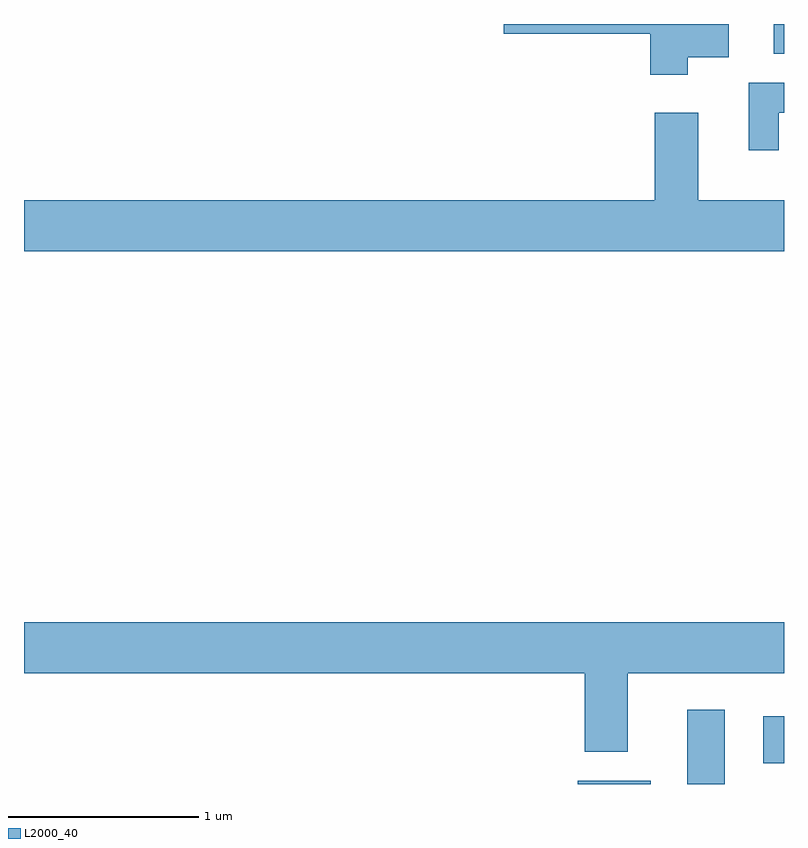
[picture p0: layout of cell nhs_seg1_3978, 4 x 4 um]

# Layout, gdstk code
import gdstk
lib = gdstk.Library(unit=1e-6, precision=1e-09)
def R(c, l, rs):  # rectangles x0, y0, x1, y1
    for r in rs: c.add(gdstk.rectangle(r[:2], r[2:], *l))
def P(c, l, *ps):  # polygons
    for p in ps: c.add(gdstk.Polygon(p, *l))
L2000_40 = (2000, 40)

nhs_seg1_3978 = lib.new_cell('nhs_seg1_3978')
R(nhs_seg1_3978, L2000_40, [(308.526,845.712,308.909,845.729), (309.101,845.712,309.299,846.104), (309.501,845.821,309.611,846.069), (309.556,849.556,309.611,849.712)])
P(nhs_seg1_3978, L2000_40, [(309.104,849.536),(309.319,849.536),(309.319,849.712),(308.136,849.712),(308.136,849.661),(308.906,849.661),(308.906,849.446),(309.104,849.446)],
  [(309.584,849.246),(309.611,849.246),(309.611,849.404),(309.426,849.404),(309.426,849.048),(309.584,849.048)],
  [(309.611,848.784),(309.159,848.784),(309.159,849.244),(308.931,849.244),(308.931,848.784),(305.611,848.784),(305.611,848.516),(309.611,848.516)],
  [(308.789,846.296),(309.611,846.296),(309.611,846.564),(305.611,846.564),(305.611,846.296),(308.561,846.296),(308.561,845.881),(308.789,845.881)])

lib.write_gds('nhs_seg1_3978.gds')
